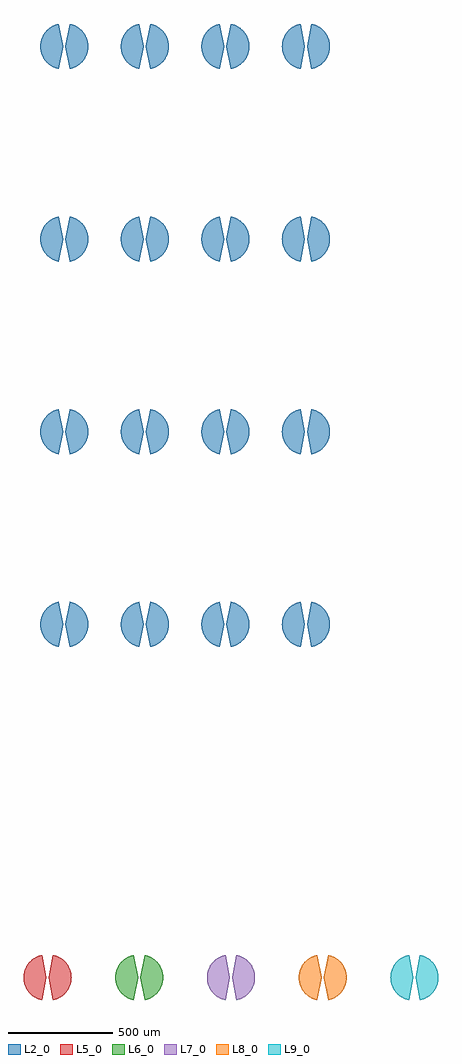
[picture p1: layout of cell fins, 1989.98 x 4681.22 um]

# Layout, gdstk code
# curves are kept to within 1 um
import gdstk
lib = gdstk.Library(unit=1e-6, precision=1e-09)
def P(c, l, *ps):  # polygons
    for p in ps: c.add(gdstk.Polygon(p, *l))
L2_0 = (2, 0)
L5_0 = (5, 0)
L6_0 = (6, 0)
L7_0 = (7, 0)
L8_0 = (8, 0)
L9_0 = (9, 0)

fins = lib.new_cell('fins')
P(fins, L2_0, [(4448.082,6278.39),(4466.927,6284.14),(4482.888,6292.218),(4497.411,6302.847),(4509.937,6315.619),(4520.282,6330.346),(4529.086,6349.269),(4533.688,6366.668),(4535.39,6386.098),(4425.442,6386.098),(4446.574,6279.552)],
  [(4535.39,6387.47),(4533.688,6405.332),(4529.086,6422.731),(4520.282,6441.654),(4509.937,6456.381),(4497.37,6469.188),(4480.362,6481.285),(4464.089,6488.971),(4447.082,6493.289),(4425.442,6386.098),(4535.39,6386.098)],
  [(4392.861,6278.389),(4394.226,6279.552),(4415.358,6386.098),(4305.41,6386.098),(4307.112,6366.668),(4311.714,6349.269),(4320.518,6330.346),(4330.863,6315.619),(4343.389,6302.847),(4357.912,6292.218),(4373.873,6284.14)],
  [(4415.351,6386.196),(4394.226,6492.448),(4392.79,6493.612),(4373.873,6487.86),(4357.912,6479.782),(4343.389,6469.153),(4330.863,6456.381),(4320.518,6441.654),(4311.714,6422.731),(4307.112,6405.332),(4305.41,6387.47),(4305.41,6386.098)],
  [(4834.482,6278.39),(4853.327,6284.14),(4869.288,6292.218),(4883.811,6302.847),(4896.337,6315.619),(4906.682,6330.346),(4915.486,6349.269),(4920.088,6366.668),(4921.79,6386.098),(4811.842,6386.098),(4832.974,6279.552)],
  [(4921.79,6387.47),(4920.088,6405.332),(4915.486,6422.731),(4906.682,6441.654),(4896.337,6456.381),(4883.77,6469.188),(4866.762,6481.285),(4850.489,6488.971),(4833.482,6493.289),(4811.842,6386.098),(4921.79,6386.098)],
  [(4779.261,6278.389),(4780.626,6279.552),(4801.758,6386.098),(4691.81,6386.098),(4693.512,6366.668),(4698.114,6349.269),(4706.918,6330.346),(4717.263,6315.619),(4729.789,6302.847),(4744.312,6292.218),(4760.273,6284.14)],
  [(4801.751,6386.196),(4780.626,6492.448),(4779.19,6493.612),(4760.273,6487.86),(4744.312,6479.782),(4729.789,6469.153),(4717.263,6456.381),(4706.918,6441.654),(4698.114,6422.731),(4693.512,6405.332),(4691.81,6387.47),(4691.81,6386.098)],
  [(5220.882,6278.39),(5239.727,6284.14),(5255.688,6292.218),(5270.211,6302.847),(5282.737,6315.619),(5293.082,6330.346),(5301.886,6349.269),(5306.488,6366.668),(5308.19,6386.098),(5198.242,6386.098),(5219.374,6279.552)],
  [(5308.19,6387.47),(5306.488,6405.332),(5301.886,6422.731),(5293.082,6441.654),(5282.737,6456.381),(5270.17,6469.188),(5253.162,6481.285),(5236.889,6488.971),(5219.882,6493.289),(5198.242,6386.098),(5308.19,6386.098)],
  [(5165.661,6278.389),(5167.026,6279.552),(5188.158,6386.098),(5078.21,6386.098),(5079.912,6366.668),(5084.514,6349.269),(5093.318,6330.346),(5103.663,6315.619),(5116.189,6302.847),(5130.712,6292.218),(5146.673,6284.14)],
  [(5188.151,6386.196),(5167.026,6492.448),(5165.59,6493.612),(5146.673,6487.86),(5130.712,6479.782),(5116.189,6469.153),(5103.663,6456.381),(5093.318,6441.654),(5084.514,6422.731),(5079.912,6405.332),(5078.21,6387.47),(5078.21,6386.098)],
  [(5607.282,6278.39),(5626.127,6284.14),(5642.088,6292.218),(5656.611,6302.847),(5669.137,6315.619),(5679.482,6330.346),(5688.286,6349.269),(5692.888,6366.668),(5694.59,6386.098),(5584.642,6386.098),(5605.774,6279.552)],
  [(5694.59,6387.47),(5692.888,6405.332),(5688.286,6422.731),(5679.482,6441.654),(5669.137,6456.381),(5656.57,6469.188),(5639.562,6481.285),(5623.289,6488.971),(5606.282,6493.289),(5584.642,6386.098),(5694.59,6386.098)],
  [(5552.061,6278.389),(5553.426,6279.552),(5574.558,6386.098),(5464.61,6386.098),(5466.312,6366.668),(5470.914,6349.269),(5479.718,6330.346),(5490.063,6315.619),(5502.589,6302.847),(5517.112,6292.218),(5533.073,6284.14)],
  [(5574.551,6386.196),(5553.426,6492.448),(5551.99,6493.612),(5533.073,6487.86),(5517.112,6479.782),(5502.589,6469.153),(5490.063,6456.381),(5479.718,6441.654),(5470.914,6422.731),(5466.312,6405.332),(5464.61,6387.47),(5464.61,6386.098)],
  [(4448.082,5354.39),(4466.927,5360.14),(4482.888,5368.218),(4497.411,5378.847),(4509.937,5391.619),(4520.282,5406.346),(4529.086,5425.269),(4533.688,5442.668),(4535.39,5462.098),(4425.442,5462.098),(4446.574,5355.552)],
  [(4535.39,5463.47),(4533.688,5481.332),(4529.086,5498.731),(4520.282,5517.654),(4509.937,5532.381),(4497.37,5545.188),(4480.362,5557.285),(4464.089,5564.971),(4447.082,5569.289),(4425.442,5462.098),(4535.39,5462.098)],
  [(4392.861,5354.389),(4394.226,5355.552),(4415.358,5462.098),(4305.41,5462.098),(4307.112,5442.668),(4311.714,5425.269),(4320.518,5406.346),(4330.863,5391.619),(4343.389,5378.847),(4357.912,5368.218),(4373.873,5360.14)],
  [(4415.351,5462.196),(4394.226,5568.448),(4392.79,5569.612),(4373.873,5563.86),(4357.912,5555.782),(4343.389,5545.153),(4330.863,5532.381),(4320.518,5517.654),(4311.714,5498.731),(4307.112,5481.332),(4305.41,5463.47),(4305.41,5462.098)],
  [(4834.482,5354.39),(4853.327,5360.14),(4869.288,5368.218),(4883.811,5378.847),(4896.337,5391.619),(4906.682,5406.346),(4915.486,5425.269),(4920.088,5442.668),(4921.79,5462.098),(4811.842,5462.098),(4832.974,5355.552)],
  [(4921.79,5463.47),(4920.088,5481.332),(4915.486,5498.731),(4906.682,5517.654),(4896.337,5532.381),(4883.77,5545.188),(4866.762,5557.285),(4850.489,5564.971),(4833.482,5569.289),(4811.842,5462.098),(4921.79,5462.098)],
  [(4779.261,5354.389),(4780.626,5355.552),(4801.758,5462.098),(4691.81,5462.098),(4693.512,5442.668),(4698.114,5425.269),(4706.918,5406.346),(4717.263,5391.619),(4729.789,5378.847),(4744.312,5368.218),(4760.273,5360.14)],
  [(4801.751,5462.196),(4780.626,5568.448),(4779.19,5569.612),(4760.273,5563.86),(4744.312,5555.782),(4729.789,5545.153),(4717.263,5532.381),(4706.918,5517.654),(4698.114,5498.731),(4693.512,5481.332),(4691.81,5463.47),(4691.81,5462.098)],
  [(5220.882,5354.39),(5239.727,5360.14),(5255.688,5368.218),(5270.211,5378.847),(5282.737,5391.619),(5293.082,5406.346),(5301.886,5425.269),(5306.488,5442.668),(5308.19,5462.098),(5198.242,5462.098),(5219.374,5355.552)],
  [(5308.19,5463.47),(5306.488,5481.332),(5301.886,5498.731),(5293.082,5517.654),(5282.737,5532.381),(5270.17,5545.188),(5253.162,5557.285),(5236.889,5564.971),(5219.882,5569.289),(5198.242,5462.098),(5308.19,5462.098)],
  [(5165.661,5354.389),(5167.026,5355.552),(5188.158,5462.098),(5078.21,5462.098),(5079.912,5442.668),(5084.514,5425.269),(5093.318,5406.346),(5103.663,5391.619),(5116.189,5378.847),(5130.712,5368.218),(5146.673,5360.14)],
  [(5188.151,5462.196),(5167.026,5568.448),(5165.59,5569.612),(5146.673,5563.86),(5130.712,5555.782),(5116.189,5545.153),(5103.663,5532.381),(5093.318,5517.654),(5084.514,5498.731),(5079.912,5481.332),(5078.21,5463.47),(5078.21,5462.098)],
  [(5607.282,5354.39),(5626.127,5360.14),(5642.088,5368.218),(5656.611,5378.847),(5669.137,5391.619),(5679.482,5406.346),(5688.286,5425.269),(5692.888,5442.668),(5694.59,5462.098),(5584.642,5462.098),(5605.774,5355.552)],
  [(5694.59,5463.47),(5692.888,5481.332),(5688.286,5498.731),(5679.482,5517.654),(5669.137,5532.381),(5656.57,5545.188),(5639.562,5557.285),(5623.289,5564.971),(5606.282,5569.289),(5584.642,5462.098),(5694.59,5462.098)],
  [(5552.061,5354.389),(5553.426,5355.552),(5574.558,5462.098),(5464.61,5462.098),(5466.312,5442.668),(5470.914,5425.269),(5479.718,5406.346),(5490.063,5391.619),(5502.589,5378.847),(5517.112,5368.218),(5533.073,5360.14)],
  [(5574.551,5462.196),(5553.426,5568.448),(5551.99,5569.612),(5533.073,5563.86),(5517.112,5555.782),(5502.589,5545.153),(5490.063,5532.381),(5479.718,5517.654),(5470.914,5498.731),(5466.312,5481.332),(5464.61,5463.47),(5464.61,5462.098)],
  [(4448.082,4430.39),(4466.927,4436.14),(4482.888,4444.218),(4497.411,4454.847),(4509.937,4467.619),(4520.282,4482.346),(4529.086,4501.269),(4533.688,4518.668),(4535.39,4538.098),(4425.442,4538.098),(4446.574,4431.552)],
  [(4535.39,4539.47),(4533.688,4557.332),(4529.086,4574.731),(4520.282,4593.654),(4509.937,4608.381),(4497.37,4621.188),(4480.362,4633.285),(4464.089,4640.971),(4447.082,4645.289),(4425.442,4538.098),(4535.39,4538.098)],
  [(4392.861,4430.389),(4394.226,4431.552),(4415.358,4538.098),(4305.41,4538.098),(4307.112,4518.668),(4311.714,4501.269),(4320.518,4482.346),(4330.863,4467.619),(4343.389,4454.847),(4357.912,4444.218),(4373.873,4436.14)],
  [(4415.351,4538.196),(4394.226,4644.448),(4392.79,4645.612),(4373.873,4639.86),(4357.912,4631.782),(4343.389,4621.153),(4330.863,4608.381),(4320.518,4593.654),(4311.714,4574.731),(4307.112,4557.332),(4305.41,4539.47),(4305.41,4538.098)],
  [(4834.482,4430.39),(4853.327,4436.14),(4869.288,4444.218),(4883.811,4454.847),(4896.337,4467.619),(4906.682,4482.346),(4915.486,4501.269),(4920.088,4518.668),(4921.79,4538.098),(4811.842,4538.098),(4832.974,4431.552)],
  [(4921.79,4539.47),(4920.088,4557.332),(4915.486,4574.731),(4906.682,4593.654),(4896.337,4608.381),(4883.77,4621.188),(4866.762,4633.285),(4850.489,4640.971),(4833.482,4645.289),(4811.842,4538.098),(4921.79,4538.098)],
  [(4779.261,4430.389),(4780.626,4431.552),(4801.758,4538.098),(4691.81,4538.098),(4693.512,4518.668),(4698.114,4501.269),(4706.918,4482.346),(4717.263,4467.619),(4729.789,4454.847),(4744.312,4444.218),(4760.273,4436.14)],
  [(4801.751,4538.196),(4780.626,4644.448),(4779.19,4645.612),(4760.273,4639.86),(4744.312,4631.782),(4729.789,4621.153),(4717.263,4608.381),(4706.918,4593.654),(4698.114,4574.731),(4693.512,4557.332),(4691.81,4539.47),(4691.81,4538.098)],
  [(5220.882,4430.39),(5239.727,4436.14),(5255.688,4444.218),(5270.211,4454.847),(5282.737,4467.619),(5293.082,4482.346),(5301.886,4501.269),(5306.488,4518.668),(5308.19,4538.098),(5198.242,4538.098),(5219.374,4431.552)],
  [(5308.19,4539.47),(5306.488,4557.332),(5301.886,4574.731),(5293.082,4593.654),(5282.737,4608.381),(5270.17,4621.188),(5253.162,4633.285),(5236.889,4640.971),(5219.882,4645.289),(5198.242,4538.098),(5308.19,4538.098)],
  [(5165.661,4430.389),(5167.026,4431.552),(5188.158,4538.098),(5078.21,4538.098),(5079.912,4518.668),(5084.514,4501.269),(5093.318,4482.346),(5103.663,4467.619),(5116.189,4454.847),(5130.712,4444.218),(5146.673,4436.14)],
  [(5188.151,4538.196),(5167.026,4644.448),(5165.59,4645.612),(5146.673,4639.86),(5130.712,4631.782),(5116.189,4621.153),(5103.663,4608.381),(5093.318,4593.654),(5084.514,4574.731),(5079.912,4557.332),(5078.21,4539.47),(5078.21,4538.098)],
  [(5607.282,4430.39),(5626.127,4436.14),(5642.088,4444.218),(5656.611,4454.847),(5669.137,4467.619),(5679.482,4482.346),(5688.286,4501.269),(5692.888,4518.668),(5694.59,4538.098),(5584.642,4538.098),(5605.774,4431.552)],
  [(5694.59,4539.47),(5692.888,4557.332),(5688.286,4574.731),(5679.482,4593.654),(5669.137,4608.381),(5656.57,4621.188),(5639.562,4633.285),(5623.289,4640.971),(5606.282,4645.289),(5584.642,4538.098),(5694.59,4538.098)],
  [(5552.061,4430.389),(5553.426,4431.552),(5574.558,4538.098),(5464.61,4538.098),(5466.312,4518.668),(5470.914,4501.269),(5479.718,4482.346),(5490.063,4467.619),(5502.589,4454.847),(5517.112,4444.218),(5533.073,4436.14)],
  [(5574.551,4538.196),(5553.426,4644.448),(5551.99,4645.612),(5533.073,4639.86),(5517.112,4631.782),(5502.589,4621.153),(5490.063,4608.381),(5479.718,4593.654),(5470.914,4574.731),(5466.312,4557.332),(5464.61,4539.47),(5464.61,4538.098)],
  [(4448.082,3506.39),(4466.927,3512.14),(4482.888,3520.218),(4497.411,3530.847),(4509.937,3543.619),(4520.282,3558.346),(4529.086,3577.269),(4533.688,3594.668),(4535.39,3614.098),(4425.442,3614.098),(4446.574,3507.552)],
  [(4535.39,3615.47),(4533.688,3633.332),(4529.086,3650.731),(4520.282,3669.654),(4509.937,3684.381),(4497.37,3697.188),(4480.362,3709.285),(4464.089,3716.971),(4447.082,3721.289),(4425.442,3614.098),(4535.39,3614.098)],
  [(4392.861,3506.389),(4394.226,3507.552),(4415.358,3614.098),(4305.41,3614.098),(4307.112,3594.668),(4311.714,3577.269),(4320.518,3558.346),(4330.863,3543.619),(4343.389,3530.847),(4357.912,3520.218),(4373.873,3512.14)],
  [(4415.351,3614.196),(4394.226,3720.448),(4392.79,3721.612),(4373.873,3715.86),(4357.912,3707.782),(4343.389,3697.153),(4330.863,3684.381),(4320.518,3669.654),(4311.714,3650.731),(4307.112,3633.332),(4305.41,3615.47),(4305.41,3614.098)],
  [(4834.482,3506.39),(4853.327,3512.14),(4869.288,3520.218),(4883.811,3530.847),(4896.337,3543.619),(4906.682,3558.346),(4915.486,3577.269),(4920.088,3594.668),(4921.79,3614.098),(4811.842,3614.098),(4832.974,3507.552)],
  [(4921.79,3615.47),(4920.088,3633.332),(4915.486,3650.731),(4906.682,3669.654),(4896.337,3684.381),(4883.77,3697.188),(4866.762,3709.285),(4850.489,3716.971),(4833.482,3721.289),(4811.842,3614.098),(4921.79,3614.098)],
  [(4779.261,3506.389),(4780.626,3507.552),(4801.758,3614.098),(4691.81,3614.098),(4693.512,3594.668),(4698.114,3577.269),(4706.918,3558.346),(4717.263,3543.619),(4729.789,3530.847),(4744.312,3520.218),(4760.273,3512.14)],
  [(4801.751,3614.196),(4780.626,3720.448),(4779.19,3721.612),(4760.273,3715.86),(4744.312,3707.782),(4729.789,3697.153),(4717.263,3684.381),(4706.918,3669.654),(4698.114,3650.731),(4693.512,3633.332),(4691.81,3615.47),(4691.81,3614.098)],
  [(5220.882,3506.39),(5239.727,3512.14),(5255.688,3520.218),(5270.211,3530.847),(5282.737,3543.619),(5293.082,3558.346),(5301.886,3577.269),(5306.488,3594.668),(5308.19,3614.098),(5198.242,3614.098),(5219.374,3507.552)],
  [(5308.19,3615.47),(5306.488,3633.332),(5301.886,3650.731),(5293.082,3669.654),(5282.737,3684.381),(5270.17,3697.188),(5253.162,3709.285),(5236.889,3716.971),(5219.882,3721.289),(5198.242,3614.098),(5308.19,3614.098)],
  [(5165.661,3506.389),(5167.026,3507.552),(5188.158,3614.098),(5078.21,3614.098),(5079.912,3594.668),(5084.514,3577.269),(5093.318,3558.346),(5103.663,3543.619),(5116.189,3530.847),(5130.712,3520.218),(5146.673,3512.14)],
  [(5188.151,3614.196),(5167.026,3720.448),(5165.59,3721.612),(5146.673,3715.86),(5130.712,3707.782),(5116.189,3697.153),(5103.663,3684.381),(5093.318,3669.654),(5084.514,3650.731),(5079.912,3633.332),(5078.21,3615.47),(5078.21,3614.098)],
  [(5607.282,3506.39),(5626.127,3512.14),(5642.088,3520.218),(5656.611,3530.847),(5669.137,3543.619),(5679.482,3558.346),(5688.286,3577.269),(5692.888,3594.668),(5694.59,3614.098),(5584.642,3614.098),(5605.774,3507.552)],
  [(5694.59,3615.47),(5692.888,3633.332),(5688.286,3650.731),(5679.482,3669.654),(5669.137,3684.381),(5656.57,3697.188),(5639.562,3709.285),(5623.289,3716.971),(5606.282,3721.289),(5584.642,3614.098),(5694.59,3614.098)],
  [(5552.061,3506.389),(5553.426,3507.552),(5574.558,3614.098),(5464.61,3614.098),(5466.312,3594.668),(5470.914,3577.269),(5479.718,3558.346),(5490.063,3543.619),(5502.589,3530.847),(5517.112,3520.218),(5533.073,3512.14)],
  [(5574.551,3614.196),(5553.426,3720.448),(5551.99,3721.612),(5533.073,3715.86),(5517.112,3707.782),(5502.589,3697.153),(5490.063,3684.381),(5479.718,3669.654),(5470.914,3650.731),(5466.312,3633.332),(5464.61,3615.47),(5464.61,3614.098)])
P(fins, L5_0, [(4367.682,1812.39),(4386.527,1818.14),(4402.488,1826.218),(4417.011,1836.847),(4429.537,1849.619),(4439.882,1864.346),(4448.686,1883.269),(4453.288,1900.668),(4454.99,1920.098),(4345.042,1920.098),(4366.174,1813.552)],
  [(4454.99,1921.47),(4453.288,1939.332),(4448.686,1956.731),(4439.882,1975.654),(4429.537,1990.381),(4416.97,2003.188),(4399.962,2015.285),(4383.689,2022.971),(4366.682,2027.289),(4345.042,1920.098),(4454.99,1920.098)],
  [(4312.461,1812.389),(4313.826,1813.552),(4334.958,1920.098),(4225.01,1920.098),(4226.712,1900.668),(4231.314,1883.269),(4240.118,1864.346),(4250.463,1849.619),(4262.989,1836.847),(4277.512,1826.218),(4293.473,1818.14)],
  [(4334.951,1920.196),(4313.826,2026.448),(4312.39,2027.612),(4293.473,2021.86),(4277.512,2013.782),(4262.989,2003.153),(4250.463,1990.381),(4240.118,1975.654),(4231.314,1956.731),(4226.712,1939.332),(4225.01,1921.47),(4225.01,1920.098)])
P(fins, L6_0, [(4807.682,1812.39),(4826.527,1818.14),(4842.488,1826.218),(4857.011,1836.847),(4869.537,1849.619),(4879.882,1864.346),(4888.686,1883.269),(4893.288,1900.668),(4894.99,1920.098),(4785.042,1920.098),(4806.174,1813.552)],
  [(4894.99,1921.47),(4893.288,1939.332),(4888.686,1956.731),(4879.882,1975.654),(4869.537,1990.381),(4856.97,2003.188),(4839.962,2015.285),(4823.689,2022.971),(4806.682,2027.289),(4785.042,1920.098),(4894.99,1920.098)],
  [(4752.461,1812.389),(4753.826,1813.552),(4774.958,1920.098),(4665.01,1920.098),(4666.712,1900.668),(4671.314,1883.269),(4680.118,1864.346),(4690.463,1849.619),(4702.989,1836.847),(4717.512,1826.218),(4733.473,1818.14)],
  [(4774.951,1920.196),(4753.826,2026.448),(4752.39,2027.612),(4733.473,2021.86),(4717.512,2013.782),(4702.989,2003.153),(4690.463,1990.381),(4680.118,1975.654),(4671.314,1956.731),(4666.712,1939.332),(4665.01,1921.47),(4665.01,1920.098)])
P(fins, L7_0, [(5247.682,1812.39),(5266.527,1818.14),(5282.488,1826.218),(5297.011,1836.847),(5309.537,1849.619),(5319.882,1864.346),(5328.686,1883.269),(5333.288,1900.668),(5334.99,1920.098),(5225.042,1920.098),(5246.174,1813.552)],
  [(5334.99,1921.47),(5333.288,1939.332),(5328.686,1956.731),(5319.882,1975.654),(5309.537,1990.381),(5296.97,2003.188),(5279.962,2015.285),(5263.689,2022.971),(5246.682,2027.289),(5225.042,1920.098),(5334.99,1920.098)],
  [(5192.461,1812.389),(5193.826,1813.552),(5214.958,1920.098),(5105.01,1920.098),(5106.712,1900.668),(5111.314,1883.269),(5120.118,1864.346),(5130.463,1849.619),(5142.989,1836.847),(5157.512,1826.218),(5173.473,1818.14)],
  [(5214.951,1920.196),(5193.826,2026.448),(5192.39,2027.612),(5173.473,2021.86),(5157.512,2013.782),(5142.989,2003.153),(5130.463,1990.381),(5120.118,1975.654),(5111.314,1956.731),(5106.712,1939.332),(5105.01,1921.47),(5105.01,1920.098)])
P(fins, L8_0, [(5687.682,1812.39),(5706.527,1818.14),(5722.488,1826.218),(5737.011,1836.847),(5749.537,1849.619),(5759.882,1864.346),(5768.686,1883.269),(5773.288,1900.668),(5774.99,1920.098),(5665.042,1920.098),(5686.174,1813.552)],
  [(5774.99,1921.47),(5773.288,1939.332),(5768.686,1956.731),(5759.882,1975.654),(5749.537,1990.381),(5736.97,2003.188),(5719.962,2015.285),(5703.689,2022.971),(5686.682,2027.289),(5665.042,1920.098),(5774.99,1920.098)],
  [(5632.461,1812.389),(5633.826,1813.552),(5654.958,1920.098),(5545.01,1920.098),(5546.712,1900.668),(5551.314,1883.269),(5560.118,1864.346),(5570.463,1849.619),(5582.989,1836.847),(5597.512,1826.218),(5613.473,1818.14)],
  [(5654.951,1920.196),(5633.826,2026.448),(5632.39,2027.612),(5613.473,2021.86),(5597.512,2013.782),(5582.989,2003.153),(5570.463,1990.381),(5560.118,1975.654),(5551.314,1956.731),(5546.712,1939.332),(5545.01,1921.47),(5545.01,1920.098)])
P(fins, L9_0, [(6127.682,1812.39),(6146.527,1818.14),(6162.488,1826.218),(6177.011,1836.847),(6189.537,1849.619),(6199.882,1864.346),(6208.686,1883.269),(6213.288,1900.668),(6214.99,1920.098),(6105.042,1920.098),(6126.174,1813.552)],
  [(6214.99,1921.47),(6213.288,1939.332),(6208.686,1956.731),(6199.882,1975.654),(6189.537,1990.381),(6176.97,2003.188),(6159.962,2015.285),(6143.689,2022.971),(6126.682,2027.289),(6105.042,1920.098),(6214.99,1920.098)],
  [(6072.461,1812.389),(6073.826,1813.552),(6094.958,1920.098),(5985.01,1920.098),(5986.712,1900.668),(5991.314,1883.269),(6000.118,1864.346),(6010.463,1849.619),(6022.989,1836.847),(6037.512,1826.218),(6053.473,1818.14)],
  [(6094.951,1920.196),(6073.826,2026.448),(6072.39,2027.612),(6053.473,2021.86),(6037.512,2013.782),(6022.989,2003.153),(6010.463,1990.381),(6000.118,1975.654),(5991.314,1956.731),(5986.712,1939.332),(5985.01,1921.47),(5985.01,1920.098)])

lib.write_gds('fins.gds')
